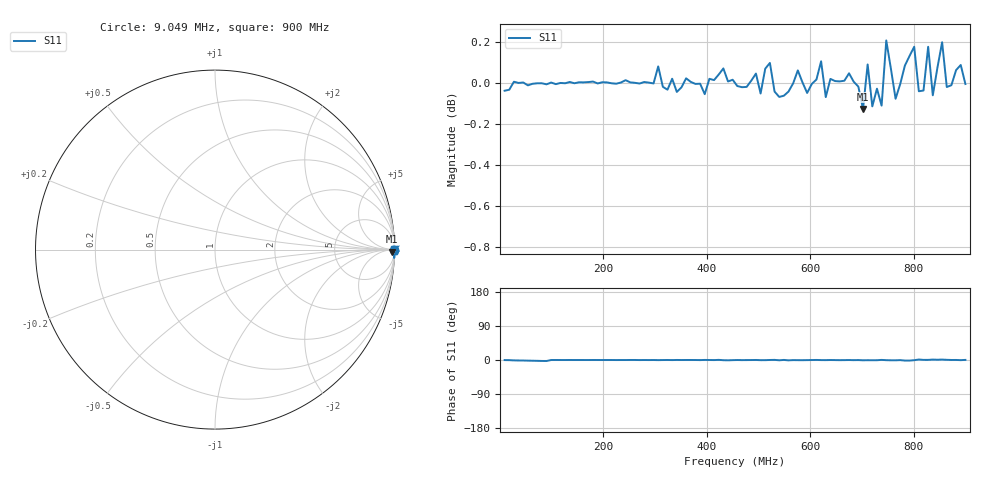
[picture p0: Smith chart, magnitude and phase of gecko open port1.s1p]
! File created by NanoVNA (https://gen111.taobao.com/)
! Start 50000Hz  Stop 899999800Hz  Points 101
# HZ S MA R 50
!S - Parameter data, F S11
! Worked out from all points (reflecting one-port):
!   100 points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, 9.049 MHz to 900 MHz, reference 50 ohm
!   lowest |S11| = -0.1 dB at 702 MHz (marker M1), VSWR 137.36, Z = 4.03e+03 - j3.38e+03 ohm
!   phase of S11 starts at -0 deg and turns +0 deg over the sweep
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9049400  0.9956 -0.2
9.00449e7  0.9992 -2.7
9.90444e7  1 0.0
1.260429e8  0.9998 -0.0
2.340369e8  1 -0.1
3.510304e8  0.9975 -0.0
4.230264e8  1.005 0.3
4.410254e8  1.001 -0.8
4.590243e8  0.9982 -0.1
5.220208e8  1.011 0.1
5.670183e8  0.9998 -0.2
6.840118e8  1.001 -0.4
7.020108e8  0.9855 -0.7
7.110103e8  1.01 -0.5
7.200098e8  0.987 -0.6
7.380088e8  0.9874 0.3
7.470083e8  1.024 -0.5
7.650073e8  0.9912 -0.8
7.740068e8  0.9994 -0.3
7.920058e8  1.015 -1.5
8.010053e8  1.02 -0.5
8.100048e8  0.9953 1.2
8.280038e8  1.02 0.3
8.370033e8  0.9931 1.0
8.550023e8  1.023 1.1
8.640018e8  0.9977 0.5
8.910003e8  1.01 -0.4
8.999998e8  0.9994 0.3
